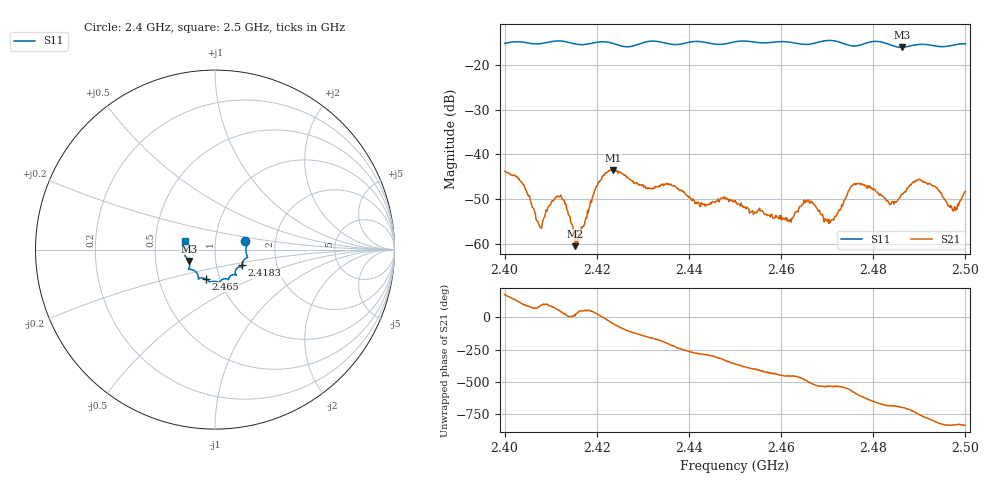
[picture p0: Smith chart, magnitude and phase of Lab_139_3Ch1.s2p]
# Hz S RI R 50
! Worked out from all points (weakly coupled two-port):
!   601 points, 2.4 GHz to 2.5 GHz, reference 50 ohm
!   highest |S21| = -43.45 dB at 2.4235 GHz (marker M1); lowest = -60.5 dB at 2.4153 GHz (marker M2)
!   lowest |S11| = -16.0 dB at 2.4862 GHz (marker M3), VSWR 1.38, Z = 37.1 - j4.81 ohm
!   |S11| at or under -10 dB: start of sweep to end of sweep
!   S12 and S22 are empty: the file has one direction only
!   S11 on the Smith chart (normalised r, x): 2.4 GHz: 1.40, +0.13; 2.4183 GHz: 1.33, -0.24; 2.465 GHz: 0.86, -0.29; 2.5 GHz: 0.71, +0.07
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2.4e9  0.1689 0.0458  -0.00644 0.00035  0 0  0 0
2.403833e9  0.1792 0.0279  -0.00115 0.00461  0 0  0 0
2.407667e9  0.1732 -0.0117  4.16e-05 0.00154  0 0  0 0
2.4125e9  0.1804 -0.0431  0.00254 0.00184  0 0  0 0
2.415333e9  0.1631 -0.0553  0.000917 0.000204  0 0  0 0
2.416667e9  0.1549 -0.0682  0.000949 0.00121  0 0  0 0
2.418333e9  0.1498 -0.0868  0.00148 0.00201  0 0  0 0
2.420833e9  0.1517 -0.1006  0.0051 0.000882  0 0  0 0
2.4235e9  0.1462 -0.0968  0.0045 -0.00499  0 0  0 0
2.433333e9  0.1167 -0.1413  -0.00434 -0.000332  0 0  0 0
2.442667e9  0.0725 -0.1677  0.000734 0.00279  0 0  0 0
2.45e9  0.0251 -0.1806  0.00306 -5.9e-05  0 0  0 0
2.461667e9  -0.0316 -0.1782  -0.000233 -0.00179  0 0  0 0
2.465e9  -0.0528 -0.1621  -0.00161 -0.00263  0 0  0 0
2.466667e9  -0.0713 -0.1575  -0.00257 -0.00135  0 0  0 0
2.470833e9  -0.0923 -0.1644  -0.00181 -0.000165  0 0  0 0
2.476667e9  -0.1178 -0.1156  -0.00229 0.00417  0 0  0 0
2.483333e9  -0.142 -0.096  0.00233 0.00177  0 0  0 0
2.486167e9  -0.1447 -0.0632  0.00333 0.00131  0 0  0 0
2.490167e9  -0.1665 -0.036  0.00411 -0.00323  0 0  0 0
2.497667e9  -0.1654 0.0334  -0.00116 -0.00234  0 0  0 0
2.5e9  -0.1668 0.0472  -0.00188 -0.00337  0 0  0 0
